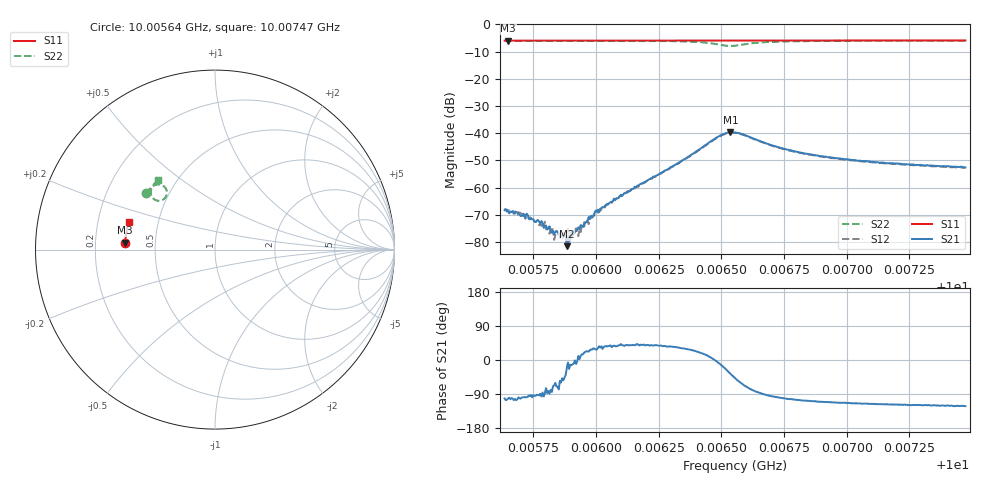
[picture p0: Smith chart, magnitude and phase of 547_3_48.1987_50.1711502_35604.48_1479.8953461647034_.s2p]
#  HZ  S  RI  R  50.00
! Rohde & Schwarz Vector Network Analyzer
! Rohde-Schwarz,ZNB20-2Port,1311601062101988,3.16
! Created: UTC 3/20/2024, 12:00:38 PM
! freq[Hz]  re:S11  im:S11  re:S21  im:S21  re:S12  im:S12  re:S22  im:S22
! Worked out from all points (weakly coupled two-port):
!   401 points, 10.00564 GHz to 10.00747 GHz, reference 50 ohm
!   highest |S21| = -39.66 dB at 10.00654 GHz (marker M1); lowest = -81.5 dB at 10.00588 GHz (marker M2)
!   lowest |S11| = -6.0 dB at 10.00565 GHz (marker M3), VSWR 3.01, Z = 16.6 + j1.72 ohm
!   |S11| at or under -10 dB: nowhere
!   |S22| runs from -8.0 to -6.0 dB; largest |S21 - S12| = 0.00067
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1.0005635e10  -0.5002 0.0376  -7.66e-05 -0.000377  -7.81e-05 -0.000406  -0.385 0.3142
1.0005649e10  -0.5 0.0386  -7.83e-05 -0.000371  -4.04e-05 -0.000366  -0.3844 0.315
1.0005722e10  -0.4999 0.0434  -4.54e-05 -0.000327  -2.53e-05 -0.000286  -0.3809 0.3195
1.0005787e10  -0.4995 0.0476  1.67e-05 -0.000225  3.31e-05 -0.000224  -0.3778 0.3234
1.0005828e10  -0.4993 0.0502  5.42e-05 -0.000147  6.98e-05 -0.000142  -0.3757 0.3259
1.0005842e10  -0.4991 0.0512  5.39e-05 -0.000151  8.22e-05 -0.000118  -0.375 0.327
1.0005883e10  -0.4991 0.054  7.82e-05 -2.99e-05  8.14e-05 -8.52e-05  -0.3726 0.3295
1.0005888e10  -0.4991 0.0541  0.000107 -1.25e-05  0.000154 -7.07e-05  -0.3724 0.3297
1.0005902e10  -0.4991 0.0552  0.000149 -3.65e-05  0.000136 -3.21e-05  -0.3717 0.3307
1.0005911e10  -0.4988 0.0557  0.000135 -2.25e-05  0.000159 7.78e-06  -0.3712 0.3312
1.0005934e10  -0.4987 0.0574  0.000172 6.53e-06  0.000169 2.81e-05  -0.3698 0.3327
1.0005943e10  -0.4989 0.0577  0.000192 5.1e-05  0.000184 7.43e-05  -0.3693 0.3334
1.0005998e10  -0.4985 0.0613  0.000334 0.000176  0.000283 0.000198  -0.3658 0.3368
1.0006035e10  -0.4982 0.0637  0.000372 0.000269  0.000341 0.000264  -0.3632 0.3395
1.0006251e10  -0.4965 0.0778  0.0014 0.00108  0.00131 0.00114  -0.3428 0.3555
1.0006485e10  -0.4936 0.0928  0.00849 -0.000875  0.0083 -0.0004  -0.2705 0.3327
1.0006536e10  -0.493 0.0955  0.00838 -0.00615  0.00853 -0.00555  -0.2807 0.2854
1.0006554e10  -0.493 0.0963  0.00693 -0.00765  0.00723 -0.00707  -0.2966 0.275
1.0006743e10  -0.4917 0.1085  -0.000962 -0.00517  -0.000672 -0.00514  -0.3582 0.3244
1.0006862e10  -0.4904 0.1161  -0.00127 -0.0038  -0.0011 -0.0038  -0.3525 0.3439
1.000717e10  -0.4861 0.1357  -0.00128 -0.0025  -0.00115 -0.0025  -0.3352 0.3698
1.0007474e10  -0.4809 0.1547  -0.00124 -0.002  -0.0011 -0.00206  -0.319 0.387
